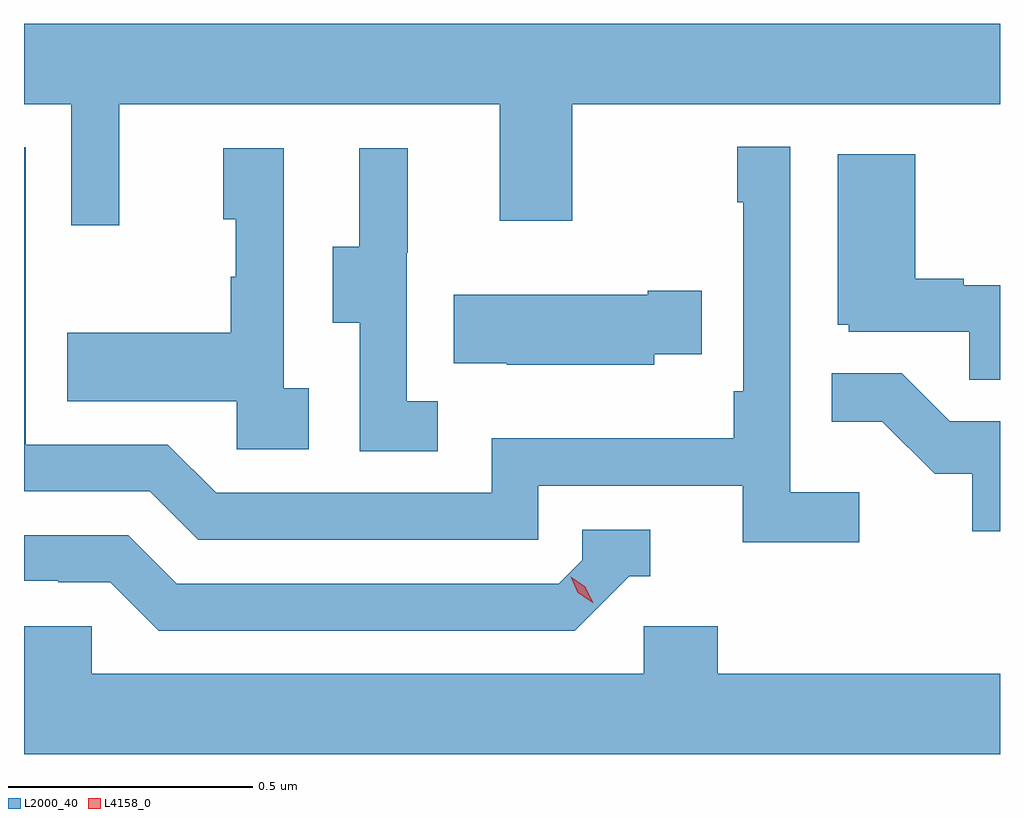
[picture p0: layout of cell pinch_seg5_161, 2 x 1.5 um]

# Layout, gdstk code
import gdstk
lib = gdstk.Library(unit=1e-6, precision=1e-09)
def P(c, l, *ps):  # polygons
    for p in ps: c.add(gdstk.Polygon(p, *l))
L2000_40 = (2000, 40)
L4158_0 = (4158, 0)

pinch_seg5_161 = lib.new_cell('pinch_seg5_161')
P(pinch_seg5_161, L2000_40, [(1112.699,883.4),(1113.479,883.4),(1113.479,883.161),(1113.627,883.161),(1113.627,883.4),(1114.504,883.4),(1114.504,883.564),(1112.504,883.564),(1112.504,883.4),(1112.601,883.4),(1112.601,883.152),(1112.699,883.152)],
  [(1114.216,882.604),(1114.074,882.604),(1114.074,883.312),(1113.966,883.312),(1113.966,883.199),(1113.978,883.199),(1113.978,882.811),(1113.958,882.811),(1113.958,882.715),(1113.462,882.715),(1113.462,882.603),(1112.898,882.603),(1112.799,882.702),(1112.508,882.702),(1112.508,883.311),(1112.504,883.311),(1112.504,882.606),(1112.762,882.606),(1112.861,882.507),(1113.558,882.507),(1113.558,882.618),(1113.977,882.618),(1113.977,882.502),(1114.216,882.502)],
  [(1113.088,882.818),(1113.036,882.818),(1113.036,883.309),(1112.912,883.309),(1112.912,883.164),(1112.938,883.164),(1112.938,883.046),(1112.928,883.046),(1112.928,882.931),(1112.593,882.931),(1112.593,882.791),(1112.94,882.791),(1112.94,882.693),(1113.088,882.693)],
  [(1113.352,882.791),(1113.288,882.791),(1113.288,883.095),(1113.29,883.095),(1113.29,883.309),(1113.191,883.309),(1113.191,883.107),(1113.137,883.107),(1113.137,882.952),(1113.192,882.952),(1113.192,882.688),(1113.352,882.688)],
  [(1114.504,883.029),(1114.43,883.029),(1114.43,883.042),(1114.33,883.042),(1114.33,883.297),(1114.172,883.297),(1114.172,882.948),(1114.194,882.948),(1114.194,882.933),(1114.441,882.933),(1114.441,882.835),(1114.504,882.835)],
  [(1113.795,882.887),(1113.893,882.887),(1113.893,883.017),(1113.782,883.017),(1113.782,883.009),(1113.385,883.009),(1113.385,882.869),(1113.493,882.869),(1113.493,882.866),(1113.795,882.866)],
  [(1114.504,882.75),(1114.401,882.75),(1114.303,882.848),(1114.159,882.848),(1114.159,882.749),(1114.263,882.749),(1114.37,882.642),(1114.447,882.642),(1114.447,882.525),(1114.504,882.525)],
  [(1113.744,882.432),(1113.787,882.432),(1113.787,882.528),(1113.648,882.528),(1113.648,882.465),(1113.6,882.417),(1112.817,882.417),(1112.718,882.516),(1112.504,882.516),(1112.504,882.423),(1112.574,882.423),(1112.574,882.42),(1112.681,882.42),(1112.78,882.321),(1113.633,882.321)],
  [(1114.504,882.232),(1113.926,882.232),(1113.926,882.33),(1113.774,882.33),(1113.774,882.232),(1112.643,882.232),(1112.643,882.33),(1112.504,882.33),(1112.504,882.068),(1114.504,882.068)])
P(pinch_seg5_161, L4158_0, [(1113.669,882.378),(1113.639,882.398),(1113.624,882.431),(1113.624,882.431),(1113.624,882.431),(1113.654,882.411),(1113.67,882.378),(1113.67,882.378)])

lib.write_gds('pinch_seg5_161.gds')
